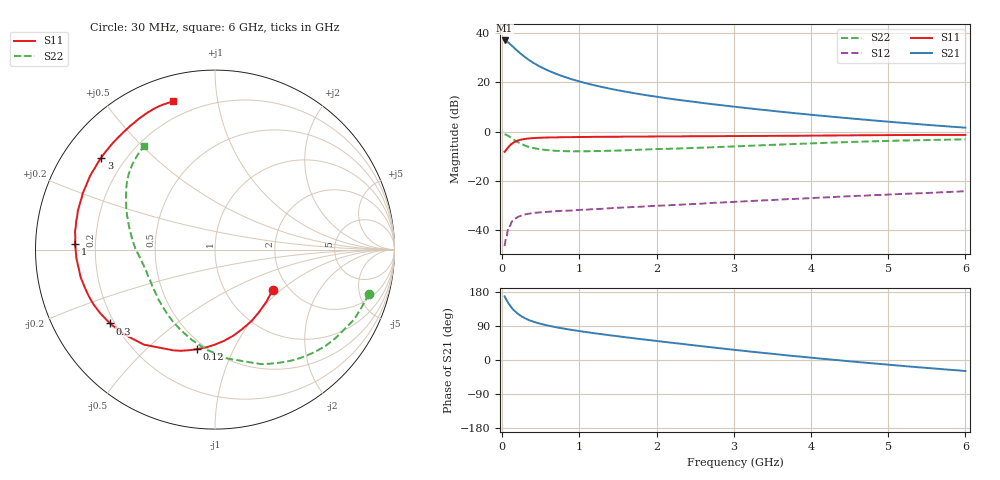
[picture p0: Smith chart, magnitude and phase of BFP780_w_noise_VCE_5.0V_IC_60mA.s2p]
! Infineon Technologies  Discrete & RF Semiconductors
! BFP780
! VCE =  5.0 V,  IC =  60 mA
! Common Emitter S-Parameters:  Jul 2015
# GHz  S  MA  R  50
!  f  S11  S21  S12  S22
! GHz  MAG  ANG  MAG  ANG  MAG  ANG  MAG  ANG
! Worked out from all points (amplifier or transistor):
!   75 points, 30 MHz to 6 GHz, reference 50 ohm
!   highest |S21| = 36.9 dB at 30 MHz (marker M1)
!   |S21| within 3 dB of that: start of sweep to 154.2 MHz
!   unconditionally stable (mu >= 1): 1.827 GHz to end of sweep
!   at 150 MHz: K = 0.20, MSG = 34.8 dB, |S12| = -35.5 dB
!   at 2.3 GHz: K = 1.12, MAG = 19.1 dB, |S12| = -29.6 dB
!   at 6 GHz: K = 1.20, MAG = 10.2 dB, |S12| = -24.1 dB
!   lowest NFmin = 1.52 dB at 450 MHz
!   S11 on the Smith chart (normalised r, x): 30 MHz: 1.66, -0.88; 120 MHz: 0.45, -0.73; 300 MHz: 0.18, -0.31; 1 GHz: 0.12, +0.02; 3 GHz: 0.11, +0.35; 6 GHz: 0.12, +0.75
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0.03  0.3915 -34.9  70.37 168.1  0.0048 60.2  0.8919 -16.0
0.05  0.426 -54.7  68.06 160.2  0.0073 59.3  0.8674 -26.6
0.07  0.4675 -70.9  65 153.2  0.01 55.9  0.8334 -36.3
0.09  0.5107 -84.3  61.43 146.7  0.0115 56.8  0.7985 -45.3
0.12  0.5639 -100.3  55.84 138.3  0.0148 50.1  0.7392 -57.7
0.15  0.6073 -112.4  50.52 131.4  0.0167 42.2  0.6875 -68.1
0.2  0.6612 -126.8  42.78 122.2  0.0187 38.0  0.6133 -82.8
0.25  0.6933 -137.2  36.7 115.1  0.0201 33.6  0.5606 -94.6
0.3  0.7152 -144.9  31.82 109.6  0.0212 30.5  0.5192 -104.4
0.35  0.7309 -150.9  27.99 105.1  0.0218 28.1  0.489 -112.5
0.4  0.7424 -155.6  24.91 101.4  0.0227 26.0  0.4679 -119.3
0.5  0.7543 -162.9  20.35 95.3  0.0233 24.2  0.4371 -130.0
0.7  0.7672 -172.7  14.77 86.3  0.0246 22.7  0.4087 -144.8
1  0.7808 177.6  10.4 76.3  0.0261 22.6  0.4014 -158.4
1.1  0.781 175.0  9.436 73.3  0.0264 22.9  0.4007 -161.9
1.5  0.7898 166.4  6.889 62.6  0.0288 24.8  0.4146 -171.8
2.1  0.8012 155.5  4.827 47.8  0.032 25.8  0.4472 178.0
3  0.8151 141.0  3.214 26.9  0.0379 26.3  0.503 163.3
3.1  0.8167 139.5  3.084 24.8  0.0385 26.3  0.5103 161.8
4.1  0.8334 125.4  2.128 4.2  0.046 24.5  0.587 147.6
5.1  0.8544 114.1  1.548 -14.1  0.0541 20.4  0.6554 135.3
6  0.8587 105.9  1.204 -29.0  0.0622 15.5  0.7 124.4
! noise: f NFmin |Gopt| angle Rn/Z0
0.45  1.52  0.42  178  0.07
0.9  1.57  0.46  -170  0.08
1.5  1.63  0.48  -162  0.08
1.8  1.8  0.49  -154  0.09
2.4  1.92  0.5  -147  0.13
3  2.2  0.51  -138  0.18
3.5  2.67  0.56  -122  0.29
